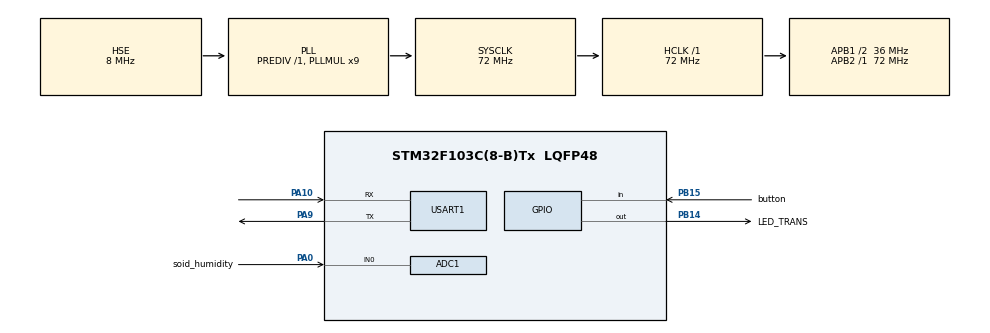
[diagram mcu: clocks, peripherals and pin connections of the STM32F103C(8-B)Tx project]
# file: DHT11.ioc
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ADC1.Channel-4\#ChannelRegularConversion=ADC_CHANNEL_0
ADC1.ContinuousConvMode=DISABLE
ADC1.DataAlign=ADC_DATAALIGN_RIGHT
ADC1.DiscontinuousConvMode=DISABLE
ADC1.EnableAnalogWatchDog=false
ADC1.EnableRegularConversion=ENABLE
ADC1.ExternalTrigConv=ADC_SOFTWARE_START
ADC1.InjNumberOfConversion=0
ADC1.NbrOfConversion=1
ADC1.NbrOfConversionFlag=1
ADC1.Rank-4\#ChannelRegularConversion=1
ADC1.SamplingTime-4\#ChannelRegularConversion=ADC_SAMPLETIME_1CYCLE_5
ADC1.ScanConvMode=ADC_SCAN_DISABLE
ADC1.master=1
Dma.ADC1.0.Direction=DMA_PERIPH_TO_MEMORY
Dma.ADC1.0.Instance=DMA1_Channel1
Dma.ADC1.0.MemDataAlignment=DMA_MDATAALIGN_HALFWORD
Dma.ADC1.0.MemInc=DMA_MINC_ENABLE
Dma.ADC1.0.Mode=DMA_NORMAL
Dma.ADC1.0.PeriphDataAlignment=DMA_PDATAALIGN_HALFWORD
Dma.ADC1.0.PeriphInc=DMA_PINC_DISABLE
Dma.ADC1.0.Priority=DMA_PRIORITY_LOW
Dma.Request0=ADC1
Mcu.Family=STM32F1
Mcu.Name=STM32F103C(8-B)Tx
Mcu.Package=LQFP48
NVIC.DMA1_Channel1_IRQn=true\:0\:0\:false\:false\:true\:false
NVIC.PriorityGroup=NVIC_PRIORITYGROUP_4
NVIC.USART1_IRQn=true\:0\:0\:false\:false\:true\:true
PA0-WKUP.GPIO_Label=soid_humidity
PA0-WKUP.Signal=ADCx_IN0
PA10.Mode=Asynchronous
PA10.Signal=USART1_RX
PA13.Mode=Serial_Wire
PA13.Signal=SYS_JTMS-SWDIO
PA14.Mode=Serial_Wire
PA14.Signal=SYS_JTCK-SWCLK
PA9.Mode=Asynchronous
PA9.Signal=USART1_TX
PB14.GPIO_Label=LED_TRANS
PB14.Signal=GPIO_Output
PB15.GPIO_Label=button
PB15.GPIO_PuPd=GPIO_PULLUP
PB15.Signal=GPIO_Input
PD0-OSC_IN.Mode=HSE-External-Oscillator
PD0-OSC_IN.Signal=RCC_OSC_IN
PD1-OSC_OUT.Mode=HSE-External-Oscillator
PD1-OSC_OUT.Signal=RCC_OSC_OUT
ProjectManager.HeapSize=0x200
ProjectManager.StackSize=0x400
ProjectManager.TargetToolchain=MDK-ARM V5
RCC.ADCPresc=RCC_ADCPCLK2_DIV6
RCC.AHBFreq_Value=72000000
RCC.APB1CLKDivider=RCC_HCLK_DIV2
RCC.APB1Freq_Value=36000000
RCC.APB1TimFreq_Value=72000000
RCC.APB2Freq_Value=72000000
RCC.APB2TimFreq_Value=72000000
RCC.HCLKFreq_Value=72000000
RCC.PLLMUL=RCC_PLL_MUL9
RCC.PLLSourceVirtual=RCC_PLLSOURCE_HSE
RCC.SYSCLKFreq_VALUE=72000000
RCC.SYSCLKSource=RCC_SYSCLKSOURCE_PLLCLK
RCC.USBFreq_Value=72000000
SH.ADCx_IN0.0=ADC1_IN0,IN0
USART1.VirtualMode=VM_ASYNC
board=custom

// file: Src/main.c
/**
  ******************************************************************************
  * @file           : main.c
  * @brief          : Main program body
  ******************************************************************************
  ** This notice applies to any and all portions of this file
  * that are not between comment pairs USER CODE BEGIN and
  * USER CODE END. Other portions of this file, whether
  * inserted by the user or by software development tools
  * are owned by their respective copyright owners.
  *
  * COPYRIGHT(c) 2019 STMicroelectronics
  *
  * Redistribution and use in source and binary forms, with or without modification,
  * are permitted provided that the following conditions are met:
  *   1. Redistributions of source code must retain the above copyright notice,
  *      this list of conditions and the following disclaimer.
  *   2. Redistributions in binary form must reproduce the above copyright notice,
  *      this list of conditions and the following disclaimer in the documentation
  *      and/or other materials provided with the distribution.
  *   3. Neither the name of STMicroelectronics nor the names of its contributors
  *      may be used to endorse or promote products derived from this software
  *      without specific prior written permission.
  *
  * THIS SOFTWARE IS PROVIDED BY THE COPYRIGHT HOLDERS AND CONTRIBUTORS "AS IS"
  * AND ANY EXPRESS OR IMPLIED WARRANTIES, INCLUDING, BUT NOT LIMITED TO, THE
  * IMPLIED WARRANTIES OF MERCHANTABILITY AND FITNESS FOR A PARTICULAR PURPOSE ARE
  * DISCLAIMED. IN NO EVENT SHALL THE COPYRIGHT HOLDER OR CONTRIBUTORS BE LIABLE
  * FOR ANY DIRECT, INDIRECT, INCIDENTAL, SPECIAL, EXEMPLARY, OR CONSEQUENTIAL
  * DAMAGES (INCLUDING, BUT NOT LIMITED TO, PROCUREMENT OF SUBSTITUTE GOODS OR
  * SERVICES; LOSS OF USE, DATA, OR PROFITS; OR BUSINESS INTERRUPTION) HOWEVER
  * CAUSED AND ON ANY THEORY OF LIABILITY, WHETHER IN CONTRACT, STRICT LIABILITY,
  * OR TORT (INCLUDING NEGLIGENCE OR OTHERWISE) ARISING IN ANY WAY OUT OF THE USE
  * OF THIS SOFTWARE, EVEN IF ADVISED OF THE POSSIBILITY OF SUCH DAMAGE.
  *
  ******************************************************************************
  */
#include "main.h"
#include "stm32f1xx_hal.h"

/* USER CODE BEGIN Includes */
#include "CTR_nrf24l01.h"
#include "dwt_stm32_delay.h"
#include "stdio.h"
#include "string.h"

/* USER CODE END Includes */

ADC_HandleTypeDef hadc1;
DMA_HandleTypeDef hdma_adc1;

UART_HandleTypeDef huart1;

/* USER CODE BEGIN PV */
/* Private variables ---------------------------------------------------------*/
//----------------------khai bao bien cho ham doc nhiet do va do am-----------------------//
uint8_t Rh_byte1, Rh_byte2, Temp_byte1, Temp_byte2;
uint16_t sum, RH, TEMP, soid_RH_adc;
int soid_RH;
int temp_low, temp_high, rh_low, rh_high;
char temp_char1[2], temp_char2, rh_char1[2], rh_char2;
uint8_t check = 0;
GPIO_InitTypeDef GPIO_InitStruct;

char nhiet_do_va_do_am[32];

char nhiet_do1[32];
char nhiet_do2[32];

char do_am1[32];
char do_am2[32];

char do_am_soid[32];

char m[32];
char r[32];

char chuoi_cat[32];

char min_c[32];
char max_c[32];
int lon_c;//max-min cu nhiet do
int nho_c;//max-min cu nhiet do

char min_h[32];
char max_h[32];
int lon_h;//max-min cu do am
int nho_h;//max-min cu do am

char min_s[32];
char max_s[32];
int lon_s;//max-min cu do am dat
int nho_s;//max-min cu do am dat

//----------------------khai bao bien cho ham doc nhiet do va do am-----------------------//

void set_gpio_output (void)
{
	/*Configure GPIO pin output: PA1 */
  GPIO_InitStruct.Pin = GPIO_PIN_1;
  GPIO_InitStruct.Mode = GPIO_MODE_OUTPUT_PP;
  GPIO_InitStruct.Speed = GPIO_SPEED_FREQ_LOW;
  HAL_GPIO_Init(GPIOA, &GPIO_InitStruct);
}

void set_gpio_input (void)
{
	/*Configure GPIO pin input: PA1 */
  GPIO_InitStruct.Pin = GPIO_PIN_1;
  GPIO_InitStruct.Mode = GPIO_MODE_INPUT;
  GPIO_InitStruct.Pull = GPIO_NOPULL;
  HAL_GPIO_Init(GPIOA, &GPIO_InitStruct);
}

//----------------------khai bao bien cho ham truyen nhan NRF24L01 A-----------------------//
uint8_t chuoi[32];
uint8_t chuoi_nhan[32]="chuoi_nhan\r\n";

uint8_t dang_truyen[32]="dang truyen\r\n";
uint8_t dang_nhan[32]="dang nhan\r\n";
uint8_t loi[32]="khong thanh cong\r\n";
uint8_t chuoi_loi[32]="chuoi loi\r\n";
uint8_t ket_thuc[32]="KET THUC\r\n";

char ok[32]="ok\r\n";
char check_1a[32]="min1a";
char check_2a[32]="min2a";

uint8_t check_lai_lan_cuoi[32]="check lai lan cuoi\r\n";
uint8_t test[32]="start\r\n";
char xuong_hang[32]="\r\n";
uint8_t du_lieu_moi_truong[32]="25.5 oC\r\n";
int a=0;
int b=0;
int thoi_gian_check=0;
int thoi_gian_truyen=0;
//----------------------khai bao bien cho ham truyen nhan NRF24L01 A-----------------------//

//----------------------khai bao bien cho ham truyen nhan NRF24L01 B-----------------------//
char bat_bom[32]="bat bom\r\n";
char tat_bom[32]="tat bom\r\n";
char dong_mai[32]="dong mai che\r\n";
char mo_mai[32]="mo mai che\r\n";

//----------------------khai bao bien cho ham truyen nhan NRF24L01 B-----------------------//

void NRF24L01_Config()
{
	CTR_nrfPinConfig();
}
/* USER CODE END PV */

void SystemClock_Config(void);
static void MX_GPIO_Init(void);
static void MX_DMA_Init(void);
static void MX_USART1_UART_Init(void);
static void MX_ADC1_Init(void);

/* USER CODE BEGIN PFP */
/* Private function prototypes -----------------------------------------------*/
//-------------------------tao cac ham cho viec doc nhiet do va do am----------------//
void DHT22_start (void)
{
	set_gpio_output ();  // set the pin as output
	HAL_GPIO_WritePin (GPIOA, GPIO_PIN_1, 0);   // pull the pin low
	DWT_Delay_us (500);   // wait for 500us
	HAL_GPIO_WritePin (GPIOA, GPIO_PIN_1, 1);   // pull the pin high
	DWT_Delay_us (30);   // wait for 30us
	set_gpio_input ();   // set as input
}

void check_response (void)
{
	DWT_Delay_us (40);
	if (!(HAL_GPIO_ReadPin (GPIOA, GPIO_PIN_1)))
	{
		DWT_Delay_us (80);
		if ((HAL_GPIO_ReadPin (GPIOA, GPIO_PIN_1))) check = 1;
	}
	while ((HAL_GPIO_ReadPin (GPIOA, GPIO_PIN_1)));   // wait for the pin to go low
}

uint8_t read_data (void)
{
	uint8_t i,j;
	for (j=0;j<8;j++)
	{
		while (!(HAL_GPIO_ReadPin (GPIOA, GPIO_PIN_1)));   // wait for the pin to go high
		DWT_Delay_us (40);   // wait for 40 us
		if ((HAL_GPIO_ReadPin (GPIOA, GPIO_PIN_1)) == 0)   // if the pin is low
		{
			i&= ~(1<<(7-j));   // write 0
		}
		else i|= (1<<(7-j));  // if the pin is high, write 1
		while ((HAL_GPIO_ReadPin (GPIOA, GPIO_PIN_1)));  // wait for the pin to go low
	}
	return i;
}
//-------------------------tao cac ham cho viec doc nhiet do va do am----------------//

/* USER CODE END PFP */

/* USER CODE BEGIN 0 */
//-----------------ham chuyen doi lieu so sang kieu chuoi----------------//
void UlToStr(char *s, unsigned long bin, unsigned char n)
{
    s += n;
    *s = '\0';

    while (n--)
    {
        *--s = (bin % 10) + '0';
        bin /= 10;
    }
}
//-----------------ham chuyen doi lieu so sang kieu chuoi----------------//

//------------------------------------------------------------------ doc soid humidity, temperature va humidity ---------------------------------------------------//
void read()
{
	//---------------doc temperature va humidity --------------//
	DHT22_start ();
	check_response ();
	Rh_byte1 = read_data ();
	Rh_byte2 = read_data ();
	Temp_byte1 = read_data ();
	Temp_byte2 = read_data ();
	sum = read_data();
	if (sum == (Rh_byte1+Rh_byte2+Temp_byte1+Temp_byte2))
	{
		TEMP = ((Temp_byte1<<8)|Temp_byte2);
		RH = ((Rh_byte1<<8)|Rh_byte2);
	}
	//---------------doc temperature va humidity --------------//

	//---------------doc soid humidity --------------//
	//0 den 4096 gia tri adc
	//0 den	100%
		HAL_ADC_Start_DMA(&hadc1, (uint32_t*)&soid_RH_adc,1);
		HAL_Delay(1);
		HAL_ADC_Stop_DMA(&hadc1);
		soid_RH= (soid_RH_adc*100)/4096;

	//---------------doc soid humidity --------------//

		temp_low = TEMP/10;
//	temp_high = TEMP%10;
//
		rh_low = RH/10;
//	rh_high = RH%10;

	//----------------------------------------chuyen tu so sang chuoi------------------------------------------------------//
	UlToStr (nhiet_do1, (TEMP/10), 2); //chuyen so '(TEMP/10)' sang chuoi co 2 gia tri
	UlToStr (nhiet_do2, (TEMP%10), 1);//chuyen so '(TEMP%10)' sang chuoi co 1 gia tri
	UlToStr (do_am1, (RH/10), 2);
	UlToStr (do_am2, (RH%10), 1);

	int soid_RH1=100-soid_RH;
	UlToStr (do_am_soid, soid_RH1, 2);

	char m [10];
	char r [10];
	//---------------dieu khien motor tuoi-----------------//
	if(nho_s < soid_RH1 && soid_RH1 < lon_s)//neu dat qua kho
	{
		if(nho_c < temp_low && temp_low < lon_c)//temp_low la gia tri int 2byte cua TEMP(kieu uint16_t)
		{
			//HAL_UART_Transmit(&huart1,bat_bom,32,5);
			if(nho_h < rh_low && rh_low < lon_h)//neu dat qua kho
			{
				HAL_UART_Transmit(&huart1,bat_bom,32,5);
				//snprintf(m, sizeof(m), "%s", "ON_1b");
				snprintf(m, sizeof(m), "%s", "ON_2b");
			}
			else //neu dat qua uot hoac he thong loi
			{
				HAL_UART_Transmit(&huart1,tat_bom,32,5);
				//snprintf(m, sizeof(m), "%s", "OFF_1b");
				snprintf(m, sizeof(m), "%s", "OFF_2b");
			}
		}
		else //neu dat qua uot hoac he thong loi
		{
			HAL_UART_Transmit(&huart1,tat_bom,32,5);
			//snprintf(m, sizeof(m), "%s", "OFF_1b");
			snprintf(m, sizeof(m), "%s", "OFF_2b");
		}
	}
	else //neu dat qua uot hoac he thong loi
	{
		HAL_UART_Transmit(&huart1,tat_bom,32,5);
		//snprintf(m, sizeof(m), "%s", "OFF_1b");
		snprintf(m, sizeof(m), "%s", "OFF_2b");
	}
	//---------------dieu khien motor tuoi-----------------//

	//---------------dieu khien motor rem-----------------//
	if(30 < TEMP && TEMP < 40)
	{
		//if(TEMP
		HAL_UART_Transmit(&huart1,dong_mai,32,5);
		snprintf(r, sizeof(r), "%s", "D");
	}
	else
	{
		HAL_UART_Transmit(&huart1,mo_mai,32,5);
		snprintf(r, sizeof(r), "%s", "M");
	}
	//---------------dieu khien motor rem-----------------//

	//TONG KET CHUOI GUI DI//
	snprintf(nhiet_do_va_do_am, sizeof(nhiet_do_va_do_am), "C=%s.%s&H=%s.%s&S=%s&R=%s&M=%s", nhiet_do1,nhiet_do2,do_am1,do_am2,do_am_soid,r,m);
	//TONG KET CHUOI GUI DI//
	//----------------------------------------chuyen tu so sang chuoi------------------------------------------------------//
}
//------------------------------------------------------------------ doc soid humidity, temperature va humidity ---------------------------------------------------//

/* USER CODE END 0 */

int main(void)
{

  /* MCU Configuration----------------------------------------------------------*/

  /* Reset of all peripherals, Initializes the Flash interface and the Systick. */
  HAL_Init();

  /* Configure the system clock */
  SystemClock_Config();

  /* Initialize all configured peripherals */
  MX_GPIO_Init();
  MX_DMA_Init();//dung de doc soid humidity
  MX_USART1_UART_Init();
  MX_ADC1_Init();//dung de doc soid humidity
  /* USER CODE BEGIN 2 */
	DWT_Delay_Init ();

	NRF24L01_Config();
	CTR_nrfInit(); // khoi tao kenh 4, luong 3, ..
	CTR_spiRWreg(CTR_WRITE_RE + CTR_STATUS, 0xFF);//XOA BIT tren thanh Status
	CTR_nrfSetRX();//	do co delay nen chi nen goi 1 lan de nhan duoc du lieu tot hon
	// them doan ma can gui vao buffer gui

  /* USER CODE END 2 */

  /* Infinite loop */
	while (1)
	{

  /* USER CODE BEGIN 3 */

			a=0;
			b=0;
			thoi_gian_check=0;
			//thoi_gian_truyen=0;
			if(CTR_nrfGetPacket(chuoi)==1)
			{
				HAL_UART_Transmit(&huart1,xuong_hang,32,5);//xem chuoi nhan duoc tren pc
				HAL_UART_Transmit(&huart1,chuoi_nhan,32,5);

				//HAL_UART_Transmit(&huart1,chuoi,32,5);//xem chuoi nhan duoc tren pc
				//memset(chuoi_cat, '\0', 32);
				strncpy(chuoi_cat, chuoi+0, 5);//3 ki tu dau bi loi...lay tu vi tri 3 lay 6 ki tu

				//HAL_UART_Transmit(&huart1,xuong_hang,32,5);//xem chuoi nhan duoc tren pc
				//HAL_UART_Transmit(&huart1,chuoi_cat,32,5);

				strncpy(min_c, chuoi+5, 2);//lay 2 ki tu tu vi tri 8
				strncpy(max_c, chuoi+16, 2);//lay 2 ki tu tu vi tri 19
				strncpy(min_h, chuoi+7, 2);//lay 2 ki tu tu vi tri 10
				strncpy(max_h, chuoi+18, 2);//lay 2 ki tu tu vi tri 21
				strncpy(min_s, chuoi+9, 2);//lay 2 ki tu tu vi tri 12
				strncpy(max_s, chuoi+20, 2);//lay 2 ki tu tu vi tri 23
//				HAL_UART_Transmit(&huart1,xuong_hang,32,5);//xem chuoi nhan duoc tren pc
//				HAL_UART_Transmit(&huart1,min_c,32,5);//xem chuoi nhan duoc tren pc
//				HAL_UART_Transmit(&huart1,xuong_hang,32,5);//xem chuoi nhan duoc tren pc
//				HAL_UART_Transmit(&huart1,max_c,32,5);//xem chuoi nhan duoc tren pc
//				HAL_UART_Transmit(&huart1,xuong_hang,32,5);//xem chuoi nhan duoc tren pc
//				HAL_UART_Transmit(&huart1,xuong_hang,32,5);//xem chuoi nhan duoc tren pc
//				HAL_UART_Transmit(&huart1,min_h,32,5);//xem chuoi nhan duoc tren pc
//				HAL_UART_Transmit(&huart1,xuong_hang,32,5);//xem chuoi nhan duoc tren pc
//				HAL_UART_Transmit(&huart1,max_h,32,5);//xem chuoi nhan duoc tren pc
//				HAL_UART_Transmit(&huart1,xuong_hang,32,5);//xem chuoi nhan duoc tren pc
//				HAL_UART_Transmit(&huart1,xuong_hang,32,5);//xem chuoi nhan duoc tren pc
//				HAL_UART_Transmit(&huart1,min_s,32,5);//xem chuoi nhan duoc tren pc
//				HAL_UART_Transmit(&huart1,xuong_hang,32,5);//xem chuoi nhan duoc tren pc
//				HAL_UART_Transmit(&huart1,max_s,32,5);//xem chuoi nhan duoc tren pc
//				HAL_UART_Transmit(&huart1,xuong_hang,32,5);//xem chuoi nhan duoc tren pc

				//int chuoi_check = strcmp(chuoi_cat, check_1a);
				int chuoi_check = strcmp(chuoi_cat, check_2a);
				if(chuoi_check == 0)
				{
					HAL_UART_Transmit(&huart1,chuoi,32,5);//xem chuoi nhan duoc tren pc
					HAL_UART_Transmit(&huart1,xuong_hang,32,5);//xem chuoi nhan duoc tren pc
					HAL_UART_Transmit(&huart1,chuoi_cat,32,5);//xem chuoi nhan duoc tren pc
					HAL_UART_Transmit(&huart1,xuong_hang,32,5);//xem chuoi nhan duoc tren pc

					memset(chuoi,0x00,32);//xoa chuoi

					sscanf(min_c, "%d", &nho_c);//bien doi kieu mang sang kieu so
					sscanf(max_c, "%d", &lon_c);//bien doi kieu mang sang kieu so
					sscanf(min_h, "%d", &nho_h);//bien doi kieu mang sang kieu so
					sscanf(max_h, "%d", &lon_h);//bien doi kieu mang sang kieu so
					sscanf(min_s, "%d", &nho_s);//bien doi kieu mang sang kieu so
					sscanf(max_s, "%d", &lon_s);//bien doi kieu mang sang kieu so
					read();
					while(a==0)//doi den khi da nhan duoc chuoi ok
					{
						//truyen du lieu qua cho master
						HAL_UART_Transmit(&huart1,dang_truyen,32,5);
						HAL_UART_Transmit(&huart1,nhiet_do_va_do_am,32,5);
						CTR_nrfSetTX();
						CTR_nrfSendPacket(nhiet_do_va_do_am);
						//cho phan hoi ok tu master

						HAL_UART_Transmit(&huart1,xuong_hang,32,5);
						HAL_UART_Transmit(&huart1,check_lai_lan_cuoi,32,5);
						CTR_nrfSetRX();
						while(b==0)
						{
							thoi_gian_check+=1;
							if(CTR_nrfGetPacket(chuoi)==1)
							{
								int chuoi_ok = strcmp(chuoi, ok);
								if(chuoi_ok == 0)
								{
									HAL_UART_Transmit(&huart1,chuoi,32,5);
									thoi_gian_check=4;//de khong nhay vao bao loi "da het gio vaf khong nhan duoc"
									a=1;//thoat ca vong
									b=1;//thoat che do check lai lan cuoi
									HAL_UART_Transmit(&huart1,ket_thuc,32,5);
								}
								else
								{
									//HAL_UART_Transmit(&huart1,chuoi,32,5);
									HAL_UART_Transmit(&huart1,chuoi_loi,32,5);
									CTR_spiRWreg(CTR_WRITE_RE + CTR_STATUS, 0xFF);//XOA BIT tren thanh Status
									//CTR_nrfSetRX();
									//thoi_gian_check=6;
								}
								memset(chuoi,0x00,32);//xoa chuoi
							}
							if(thoi_gian_check>5)
							{
								a=1;//thoat ca vong
								b=1;
								HAL_UART_Transmit(&huart1,loi,32,5);
							}
						}
					}
				}
				memset(chuoi,0x00,32);//xoa chuoi
				CTR_spiRWreg(CTR_WRITE_RE + CTR_STATUS, 0xFF);//XOA BIT tren thanh Status
				CTR_nrfSetRX();
			}

		}
  /* USER CODE END 3 */

}

void SystemClock_Config(void)
{

  RCC_OscInitTypeDef RCC_OscInitStruct;
  RCC_ClkInitTypeDef RCC_ClkInitStruct;
  RCC_PeriphCLKInitTypeDef PeriphClkInit;

    /**Initializes the CPU, AHB and APB busses clocks
    */
  RCC_OscInitStruct.OscillatorType = RCC_OSCILLATORTYPE_HSE;
  RCC_OscInitStruct.HSEState = RCC_HSE_ON;
  RCC_OscInitStruct.HSEPredivValue = RCC_HSE_PREDIV_DIV1;
  RCC_OscInitStruct.HSIState = RCC_HSI_ON;
  RCC_OscInitStruct.PLL.PLLState = RCC_PLL_ON;
  RCC_OscInitStruct.PLL.PLLSource = RCC_PLLSOURCE_HSE;
  RCC_OscInitStruct.PLL.PLLMUL = RCC_PLL_MUL9;
  if (HAL_RCC_OscConfig(&RCC_OscInitStruct) != HAL_OK)
  {
    _Error_Handler(__FILE__, __LINE__);
  }

    /**Initializes the CPU, AHB and APB busses clocks
    */
  RCC_ClkInitStruct.ClockType = RCC_CLOCKTYPE_HCLK|RCC_CLOCKTYPE_SYSCLK
                              |RCC_CLOCKTYPE_PCLK1|RCC_CLOCKTYPE_PCLK2;
  RCC_ClkInitStruct.SYSCLKSource = RCC_SYSCLKSOURCE_PLLCLK;
  RCC_ClkInitStruct.AHBCLKDivider = RCC_SYSCLK_DIV1;
  RCC_ClkInitStruct.APB1CLKDivider = RCC_HCLK_DIV2;
  RCC_ClkInitStruct.APB2CLKDivider = RCC_HCLK_DIV1;

  if (HAL_RCC_ClockConfig(&RCC_ClkInitStruct, FLASH_LATENCY_2) != HAL_OK)
  {
    _Error_Handler(__FILE__, __LINE__);
  }

  PeriphClkInit.PeriphClockSelection = RCC_PERIPHCLK_ADC;
  PeriphClkInit.AdcClockSelection = RCC_ADCPCLK2_DIV6;
  if (HAL_RCCEx_PeriphCLKConfig(&PeriphClkInit) != HAL_OK)
  {
    _Error_Handler(__FILE__, __LINE__);
  }

    /**Configure the Systick interrupt time
    */
  HAL_SYSTICK_Config(HAL_RCC_GetHCLKFreq()/1000);

    /**Configure the Systick
    */
  HAL_SYSTICK_CLKSourceConfig(SYSTICK_CLKSOURCE_HCLK);

  /* SysTick_IRQn interrupt configuration */
  HAL_NVIC_SetPriority(SysTick_IRQn, 0, 0);
}

/* ADC1 init function */
static void MX_ADC1_Init(void)
{

  ADC_ChannelConfTypeDef sConfig;

    /**Common config
    */
  hadc1.Instance = ADC1;
  hadc1.Init.ScanConvMode = ADC_SCAN_DISABLE;
  hadc1.Init.ContinuousConvMode = DISABLE;
  hadc1.Init.DiscontinuousConvMode = DISABLE;
  hadc1.Init.ExternalTrigConv = ADC_SOFTWARE_START;
  hadc1.Init.DataAlign = ADC_DATAALIGN_RIGHT;
  hadc1.Init.NbrOfConversion = 1;
  if (HAL_ADC_Init(&hadc1) != HAL_OK)
  {
    _Error_Handler(__FILE__, __LINE__);
  }

    /**Configure Regular Channel
    */
  sConfig.Channel = ADC_CHANNEL_0;
  sConfig.Rank = ADC_REGULAR_RANK_1;
  sConfig.SamplingTime = ADC_SAMPLETIME_1CYCLE_5;
  if (HAL_ADC_ConfigChannel(&hadc1, &sConfig) != HAL_OK)
  {
    _Error_Handler(__FILE__, __LINE__);
  }

}

/* USART1 init function */
static void MX_USART1_UART_Init(void)
{

  huart1.Instance = USART1;
  huart1.Init.BaudRate = 115200;
  huart1.Init.WordLength = UART_WORDLENGTH_8B;
  huart1.Init.StopBits = UART_STOPBITS_1;
  huart1.Init.Parity = UART_PARITY_NONE;
  huart1.Init.Mode = UART_MODE_TX_RX;
  huart1.Init.HwFlowCtl = UART_HWCONTROL_NONE;
  huart1.Init.OverSampling = UART_OVERSAMPLING_16;
  if (HAL_UART_Init(&huart1) != HAL_OK)
  {
    _Error_Handler(__FILE__, __LINE__);
  }

}

static void MX_DMA_Init(void)
{
  /* DMA controller clock enable */
  __HAL_RCC_DMA1_CLK_ENABLE();

  /* DMA interrupt init */
  /* DMA1_Channel1_IRQn interrupt configuration */
  HAL_NVIC_SetPriority(DMA1_Channel1_IRQn, 0, 0);
  HAL_NVIC_EnableIRQ(DMA1_Channel1_IRQn);

}

/** Configure pins as
        * Analog
        * Input
        * Output
        * EVENT_OUT
        * EXTI
*/
static void MX_GPIO_Init(void)
{

  GPIO_InitTypeDef GPIO_InitStruct;

  /* GPIO Ports Clock Enable */
  __HAL_RCC_GPIOD_CLK_ENABLE();
  __HAL_RCC_GPIOA_CLK_ENABLE();
  __HAL_RCC_GPIOB_CLK_ENABLE();

  /*Configure GPIO pin Output Level */
  HAL_GPIO_WritePin(LED_TRANS_GPIO_Port, LED_TRANS_Pin, GPIO_PIN_RESET);

  /*Configure GPIO pin : LED_TRANS_Pin */
  GPIO_InitStruct.Pin = LED_TRANS_Pin;
  GPIO_InitStruct.Mode = GPIO_MODE_OUTPUT_PP;
  GPIO_InitStruct.Pull = GPIO_NOPULL;
  GPIO_InitStruct.Speed = GPIO_SPEED_FREQ_LOW;
  HAL_GPIO_Init(LED_TRANS_GPIO_Port, &GPIO_InitStruct);

  /*Configure GPIO pin : button_Pin */
  GPIO_InitStruct.Pin = button_Pin;
  GPIO_InitStruct.Mode = GPIO_MODE_INPUT;
  GPIO_InitStruct.Pull = GPIO_PULLUP;
  HAL_GPIO_Init(button_GPIO_Port, &GPIO_InitStruct);

}

void _Error_Handler(char *file, int line)
{
	while(1)
	{
	}
}

/************************ (C) COPYRIGHT STMicroelectronics *****END OF FILE****/
